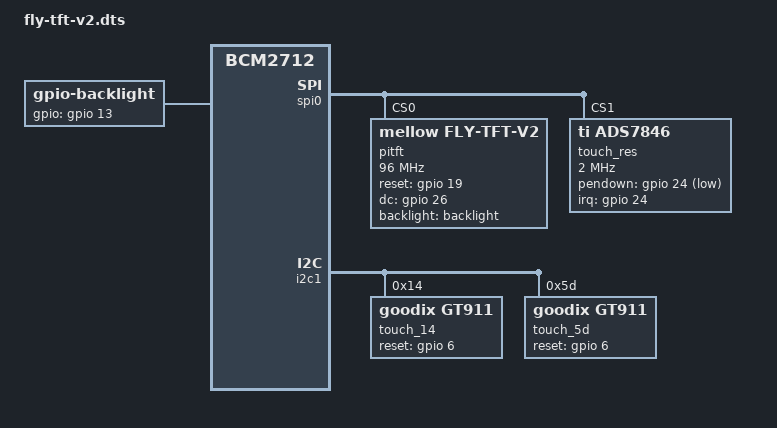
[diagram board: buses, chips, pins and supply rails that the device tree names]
/*
* Device Tree overlay for Mellow fly TFT 3.5" capacitive touchscreen
*
*/

/dts-v1/;
/plugin/;

/ {
	compatible = "brcm,bcm2835",
	"brcm,bcm2708",
	"brcm,bcm2709",
	"brcm,bcm2711",
	"brcm,bcm2712";
	
	fragment@0 {
		target = <&spi0>;
		__overlay__ {
			status = "okay";
		};
	};
	
	fragment@1 {
		target = <&spidev0>;
		__overlay__ {
			status = "disabled";
		};
	};
	
	fragment@2 {
		target = <&gpio>;
		__overlay__ {
			pitft_pins: pitft_pins {
				brcm,pins = <24 6 26 19 13>; /* TH-INT TH-RST DC RST BLK */
				brcm,function = <0 1 1 1 1>; /*   in    out  out out out */
				brcm,pull = <2 2 0 0 2>; /* pullup none */
			};
		};
	};
	
	fragment@3 {
		target-path = "/soc";
		__overlay__ {
			backlight: backlight {
				compatible = "gpio-backlight";
				gpios = <&gpio 13 0>;
				status = "okay";
			};
		};
	};
	
	fragment@4 {
		target = <&spi0>;
		__overlay__ {
			/* needed to avoid dtc warning */
			#address-cells = <1>;
			#size-cells = <0>;
			
			pitft: pitft@0 {
				compatible = "mellow,fly-tft-v2";
				pinctrl-names = "default";
				pinctrl-0 = <&pitft_pins>;
				reg = <0>;
				
				spi-max-frequency = <96000000>;
				
				rotation = <90>;
				reset-gpios = <&gpio 19 0>;
				dc-gpios = <&gpio 26 0>;
				backlight = <&backlight>;
				status = "okay";
			};
			
			touch_res: touch@1 {
				compatible = "ti,ads7846";
				reg = <1>;
				
				spi-max-frequency = <2000000>;
				interrupt-parent = <&gpio>;
				interrupts = <24 2>; /* high-to-low edge triggered */
				pendown-gpio = <&gpio 24 1>;
				// ti,keep-vref-on = <1>;
				ti,x-min = /bits/ 16 <3900>;
				ti,x-max = /bits/ 16 <200>;
				ti,y-min = /bits/ 16 <200>;
				ti,y-max = /bits/ 16 <3900>;
				ti,x-plate-ohms = /bits/ 16 <60>;
				ti,pressure-max = /bits/ 16 <255>;
				touchscreen-swapped-x-y;
				status = "okay";
			};
		};
	};
	
	fragment@5 {
		target = <&i2c1>;
		__overlay__ {
			/* needed to avoid dtc warning */
			#address-cells = <1>;
			#size-cells = <0>;
			
			touch_14: touch@14 {
				compatible = "goodix,gt911";
				reg = <0x14>;
				// interrupt-parent = <&gpio>;
				// interrupts = <24 2>; /* high-to-low edge triggered */
				// pendown-gpio = <&gpio 24 0>;
				// irq-gpios = <&gpio 24 0>;
				reset-gpios = <&gpio 6 0>;
				touchscreen-size-x = <320>;
				touchscreen-size-y = <480>;
				touchscreen-inverted-x;
				touchscreen-swapped-x-y;
				status = "okay";
			};
			
			touch_5d: touch@5d {
				compatible = "goodix,gt911";
				reg = <0x5d>;
				// interrupt-parent = <&gpio>;
				// interrupts = <24 2>; /* high-to-low edge triggered */
				// pendown-gpio = <&gpio 24 0>;
				// irq-gpios = <&gpio 24 0>;
				reset-gpios = <&gpio 6 0>;
				touchscreen-size-x = <320>;
				touchscreen-size-y = <480>;
				touchscreen-inverted-x;
				touchscreen-swapped-x-y;
				status = "okay";
			};
		};
	};
	
	
	__overrides__ {
		r0 = <&pitft>,"rotation:0=0",
			<&touch_14>,"touchscreen-inverted-x!",
			<&touch_14>,"touchscreen-swapped-x-y!",
			<&touch_5d>,"touchscreen-inverted-x!",
			<&touch_5d>,"touchscreen-swapped-x-y!",
			<&touch_res>,"touchscreen-inverted-x?",
			<&touch_res>,"touchscreen-swapped-x-y!";
		
		r90 = <&pitft>,"rotation:0=90",
			<&touch_14>,"touchscreen-inverted-x?",
			<&touch_14>,"touchscreen-swapped-x-y?",
			<&touch_5d>,"touchscreen-inverted-x?",
			<&touch_5d>,"touchscreen-swapped-x-y?",
			<&touch_res>,"touchscreen-swapped-x-y?";
		
		r180 = <&pitft>,"rotation:0=180",
			<&touch_14>,"touchscreen-swapped-x-y!",
			<&touch_14>,"touchscreen-inverted-x?",
			<&touch_14>,"touchscreen-inverted-y?",
			<&touch_5d>,"touchscreen-swapped-x-y!",
			<&touch_5d>,"touchscreen-inverted-x?",
			<&touch_5d>,"touchscreen-inverted-y?",
			<&touch_res>,"touchscreen-inverted-y?",
			<&touch_res>,"touchscreen-swapped-x-y!";
		
		r270 = <&pitft>,"rotation:0=270",
			<&touch_14>,"touchscreen-inverted-x!",
			<&touch_14>,"touchscreen-inverted-y?",
			<&touch_14>,"touchscreen-swapped-x-y?",
			<&touch_5d>,"touchscreen-inverted-x!",
			<&touch_5d>,"touchscreen-inverted-y?",
			<&touch_5d>,"touchscreen-swapped-x-y?",
			<&touch_res>,"touchscreen-inverted-x?",
			<&touch_res>,"touchscreen-inverted-y?",
			<&touch_res>,"touchscreen-swapped-x-y?";
		
		speed = <&pitft>,"spi-max-frequency: 0";
		rotation = <&pitft>, "rotation:0";
		disable_touch = <&touch_14>, "status=disabled",
			<&touch_5d>, "status=disabled",
			<&touch_res>, "status=disabled";
		invx = <&touch_14>,"touchscreen-inverted-x?",
			<&touch_5d>,"touchscreen-inverted-x?",
			<&touch_res>,"touchscreen-inverted-x?";
		invy = <&touch_14>,"touchscreen-inverted-y?",
			<&touch_5d>,"touchscreen-inverted-y?",
			<&touch_res>,"touchscreen-inverted-y?";
		swapxy = <&touch_14>,"touchscreen-swapped-x-y?",
			<&touch_5d>,"touchscreen-swapped-x-y?",
			<&touch_res>,"touchscreen-swapped-x-y?";
	};
};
